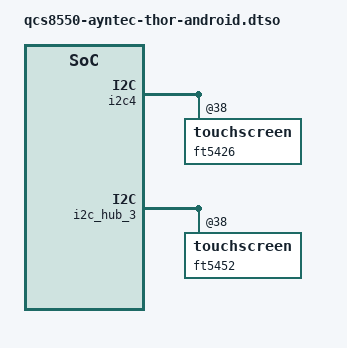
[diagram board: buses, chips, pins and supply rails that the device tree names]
// SPDX-License-Identifier: BSD-3-Clause
// SPDX-FileCopyrightText: The LineageOS Project

#include "qcs8550-ayntec-thor.dtso"

/ {
	qcom,msm-id = <603 0x20000>;
	qcom,board-id = <0x1001f 0>;
};

&android_firmware {
	hardware = "thor";
};

&i2c4 {
	touchscreen@38 {
		label = "ft5426";
	};
};

&i2c_hub_3 {
	touchscreen@38 {
		label = "ft5452";
	};
};
